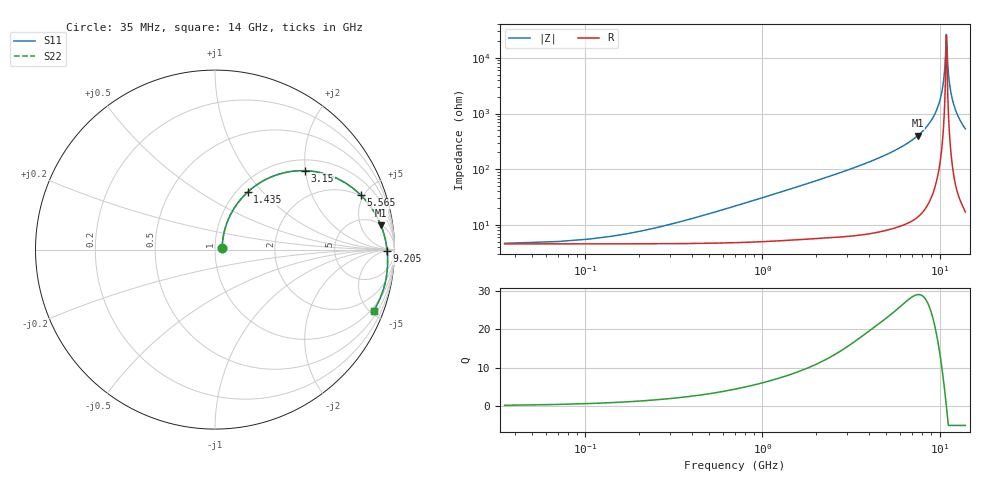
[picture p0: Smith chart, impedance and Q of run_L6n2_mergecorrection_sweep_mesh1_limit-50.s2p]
#  Hz  S  RI  R  50
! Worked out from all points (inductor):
!   400 points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, 35 MHz to 14 GHz, reference 50 ohm
!   read as one part in series: L = 4.81 nH near 490 MHz
!   highest Q = 29 at 7.525 GHz (marker M1), where L = 8.45 nH
!   self-resonance near 10.92 GHz
!   S11 on the Smith chart (normalised r, x): 35 MHz: 1.08, +0.02; 1.435 GHz: 1.12, +0.83; 3.15 GHz: 1.26, +1.99; 5.565 GHz: 1.95, +4.77; 9.205 GHz: 47, -8; 14 GHz: 0.77, -5.30
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3.5e7  0.0398 0.00922  0.9526 -0.0102  0.9526 -0.0102  0.0399 0.00922
3.15e8  0.0477 0.0823  0.9438 -0.0911  0.9437 -0.0911  0.0477 0.0822
5.95e8  0.0676 0.152  0.9215 -0.168  0.9215 -0.168  0.0676 0.152
1.435e9  0.1825 0.3211  0.797 -0.3512  0.797 -0.3512  0.1825 0.321
2.38e9  0.3592 0.4212  0.6142 -0.4595  0.6142 -0.4595  0.3591 0.4211
3.15e9  0.5024 0.4397  0.4699 -0.4852  0.4699 -0.4852  0.5023 0.4395
4.69e9  0.7268 0.3712  0.2439 -0.435  0.2439 -0.435  0.7267 0.3709
5.565e9  0.8126 0.3034  0.1566 -0.3778  0.1566 -0.3778  0.8125 0.3031
7.035e9  0.9053 0.1774  0.0619 -0.2692  0.0619 -0.2692  0.9052 0.177
7.525e9  0.9249 0.1347  0.0416 -0.2326  0.0416 -0.2326  0.9247 0.1343
9.205e9  0.9592 -0.00679  0.00416 -0.112  0.00416 -0.112  0.959 -0.00731
9.345e9  0.9602 -0.018  0.00288 -0.1024  0.00288 -0.1024  0.96 -0.0186
1.001e10  0.962 -0.0702  -6.12e-05 -0.0584  -6.11e-05 -0.0584  0.9617 -0.0707
1.0465e10  0.9605 -0.1048  0.000633 -0.0295  0.000633 -0.0295  0.9602 -0.1054
1.0745e10  0.9585 -0.1257  0.00207 -0.0121  0.00207 -0.0121  0.9582 -0.1263
1.092e10  0.9569 -0.1387  0.00335 -0.00143  0.00335 -0.00143  0.9566 -0.1393
1.0955e10  0.9566 -0.1412  0.00364 0.00069  0.00364 0.000689  0.9562 -0.1418
1.1095e10  0.955 -0.1515  0.00492 0.00911  0.00492 0.00911  0.9547 -0.1521
1.1235e10  0.9533 -0.1616  0.00637 0.0174  0.00637 0.0174  0.9529 -0.1622
1.169e10  0.9463 -0.194  0.0123 0.0439  0.0123 0.0439  0.9459 -0.1946
1.26e10  0.9265 -0.2552  0.0294 0.0935  0.0294 0.0935  0.9261 -0.2558
1.4e10  0.8864 -0.3395  0.0664 0.1608  0.0664 0.1608  0.8859 -0.3402
